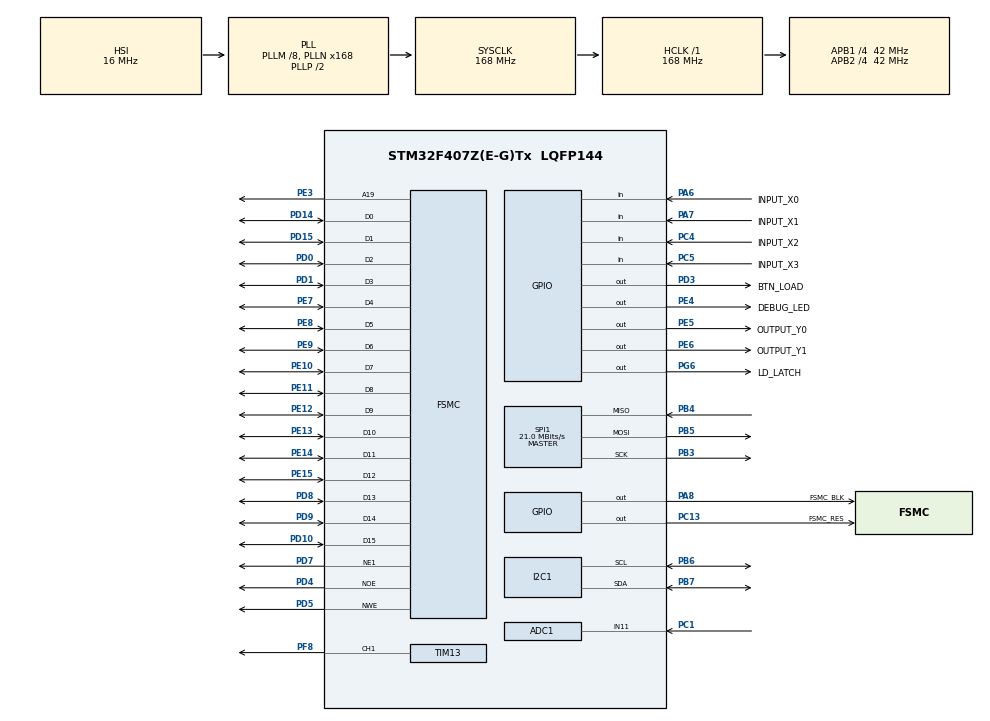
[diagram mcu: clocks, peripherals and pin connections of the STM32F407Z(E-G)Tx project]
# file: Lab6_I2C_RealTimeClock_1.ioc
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ADC1.Channel-0\#ChannelRegularConversion=ADC_CHANNEL_11
ADC1.NbrOfConversion=1
ADC1.NbrOfConversionFlag=1
ADC1.Rank-0\#ChannelRegularConversion=1
ADC1.SamplingTime-0\#ChannelRegularConversion=ADC_SAMPLETIME_3CYCLES
ADC1.ScanConvMode=DISABLE
ADC1.master=1
Dma.ADC1.0.Direction=DMA_PERIPH_TO_MEMORY
Dma.ADC1.0.FIFOMode=DMA_FIFOMODE_DISABLE
Dma.ADC1.0.Instance=DMA2_Stream0
Dma.ADC1.0.MemDataAlignment=DMA_MDATAALIGN_HALFWORD
Dma.ADC1.0.MemInc=DMA_MINC_ENABLE
Dma.ADC1.0.Mode=DMA_CIRCULAR
Dma.ADC1.0.PeriphDataAlignment=DMA_PDATAALIGN_HALFWORD
Dma.ADC1.0.PeriphInc=DMA_PINC_DISABLE
Dma.ADC1.0.Priority=DMA_PRIORITY_LOW
Dma.Request0=ADC1
FSMC.AddressSetupTime1=0xf
FSMC.BusTurnAroundDuration1=0
FSMC.DataSetupTime1=60
FSMC.ExtendedAddressSetupTime1=8
FSMC.ExtendedBusTurnAroundDuration1=0
FSMC.ExtendedDataSetupTime1=9
FSMC.ExtendedMode1=FSMC_EXTENDED_MODE_ENABLE
I2C1.I2C_Mode=I2C_Standard
Mcu.Family=STM32F4
Mcu.Name=STM32F407Z(E-G)Tx
Mcu.Package=LQFP144
NVIC.DMA2_Stream0_IRQn=true\:0\:0\:false\:false\:true\:false\:true\:true
NVIC.PriorityGroup=NVIC_PRIORITYGROUP_4
NVIC.TIM2_IRQn=true\:0\:0\:false\:false\:true\:true\:true\:true
NVIC.TIM3_IRQn=true\:0\:0\:false\:false\:true\:true\:true\:true
NVIC.TIM4_IRQn=true\:0\:0\:false\:false\:true\:true\:true\:true
PA13.Mode=Serial_Wire
PA13.Signal=SYS_JTMS-SWDIO
PA14.Mode=Serial_Wire
PA14.Signal=SYS_JTCK-SWCLK
PA6.GPIO_Label=INPUT_X0
PA6.Signal=GPIO_Input
PA7.GPIO_Label=INPUT_X1
PA7.Signal=GPIO_Input
PA8.GPIO_Label=FSMC_BLK
PA8.Signal=GPIO_Output
PB3.Mode=Full_Duplex_Master
PB3.Signal=SPI1_SCK
PB4.Mode=Full_Duplex_Master
PB4.Signal=SPI1_MISO
PB5.Mode=Full_Duplex_Master
PB5.Signal=SPI1_MOSI
PB6.Mode=I2C
PB6.Signal=I2C1_SCL
PB7.Mode=I2C
PB7.Signal=I2C1_SDA
PC1.Signal=ADCx_IN11
PC13-ANTI_TAMP.GPIO_Label=FSMC_RES
PC13-ANTI_TAMP.Signal=GPIO_Output
PC4.GPIO_Label=INPUT_X2
PC4.Signal=GPIO_Input
PC5.GPIO_Label=INPUT_X3
PC5.Signal=GPIO_Input
PD0.Signal=FSMC_D2_DA2
PD1.Signal=FSMC_D3_DA3
PD10.Signal=FSMC_D15_DA15
PD14.Signal=FSMC_D0_DA0
PD15.Signal=FSMC_D1_DA1
PD3.GPIO_Label=BTN_LOAD
PD3.Signal=GPIO_Output
PD4.Signal=FSMC_NOE
PD5.Signal=FSMC_NWE
PD7.Mode=NorPsramChipSelect1_1
PD7.Signal=FSMC_NE1
PD8.Signal=FSMC_D13_DA13
PD9.Signal=FSMC_D14_DA14
PE10.Signal=FSMC_D7_DA7
PE11.Signal=FSMC_D8_DA8
PE12.Signal=FSMC_D9_DA9
PE13.Signal=FSMC_D10_DA10
PE14.Signal=FSMC_D11_DA11
PE15.Signal=FSMC_D12_DA12
PE3.Signal=FSMC_A19
PE4.GPIO_Label=DEBUG_LED
PE4.Signal=GPIO_Output
PE5.GPIO_Label=OUTPUT_Y0
PE5.Signal=GPIO_Output
PE6.GPIO_Label=OUTPUT_Y1
PE6.Signal=GPIO_Output
PE7.Signal=FSMC_D4_DA4
PE8.Signal=FSMC_D5_DA5
PE9.Signal=FSMC_D6_DA6
PF8.Signal=S_TIM13_CH1
PG6.GPIO_Label=LD_LATCH
PG6.Signal=GPIO_Output
PH0-OSC_IN.Mode=HSE-External-Oscillator
PH0-OSC_IN.Signal=RCC_OSC_IN
PH1-OSC_OUT.Mode=HSE-External-Oscillator
PH1-OSC_OUT.Signal=RCC_OSC_OUT
ProjectManager.HeapSize=0x200
ProjectManager.StackSize=0x400
ProjectManager.TargetToolchain=STM32CubeIDE
RCC.48MHZClocksFreq_Value=84000000
RCC.AHBFreq_Value=168000000
RCC.APB1CLKDivider=RCC_HCLK_DIV4
RCC.APB1Freq_Value=42000000
RCC.APB1TimFreq_Value=84000000
RCC.APB2CLKDivider=RCC_HCLK_DIV4
RCC.APB2Freq_Value=42000000
RCC.APB2TimFreq_Value=84000000
RCC.CortexFreq_Value=168000000
RCC.HCLKFreq_Value=168000000
RCC.HSE_VALUE=8000000
RCC.HSI_VALUE=16000000
RCC.LSE_VALUE=32768
RCC.PLLM=8
RCC.PLLN=168
RCC.SYSCLKFreq_VALUE=168000000
RCC.SYSCLKSource=RCC_SYSCLKSOURCE_PLLCLK
RCC.VCOOutputFreq_Value=336000000
SH.ADCx_IN11.0=ADC1_IN11,IN11
SH.FSMC_A19.0=FSMC_A19,A19_1
SH.FSMC_D0_DA0.0=FSMC_D0,16b-d1
SH.FSMC_D10_DA10.0=FSMC_D10,16b-d1
SH.FSMC_D11_DA11.0=FSMC_D11,16b-d1
SH.FSMC_D12_DA12.0=FSMC_D12,16b-d1
SH.FSMC_D13_DA13.0=FSMC_D13,16b-d1
SH.FSMC_D14_DA14.0=FSMC_D14,16b-d1
SH.FSMC_D15_DA15.0=FSMC_D15,16b-d1
SH.FSMC_D1_DA1.0=FSMC_D1,16b-d1
SH.FSMC_D2_DA2.0=FSMC_D2,16b-d1
SH.FSMC_D3_DA3.0=FSMC_D3,16b-d1
SH.FSMC_D4_DA4.0=FSMC_D4,16b-d1
SH.FSMC_D5_DA5.0=FSMC_D5,16b-d1
SH.FSMC_D6_DA6.0=FSMC_D6,16b-d1
SH.FSMC_D7_DA7.0=FSMC_D7,16b-d1
SH.FSMC_D8_DA8.0=FSMC_D8,16b-d1
SH.FSMC_D9_DA9.0=FSMC_D9,16b-d1
SH.FSMC_NOE.0=FSMC_NOE,Lcd1
SH.FSMC_NWE.0=FSMC_NWE,Lcd1
SH.S_TIM13_CH1.0=TIM13_CH1,PWM Generation1 CH1
SPI1.BaudRatePrescaler=SPI_BAUDRATEPRESCALER_2
SPI1.CalculateBaudRate=21.0 MBits/s
SPI1.Direction=SPI_DIRECTION_2LINES
SPI1.Mode=SPI_MODE_MASTER
SPI1.VirtualType=VM_MASTER
TIM13.Channel=TIM_CHANNEL_1
TIM13.Period=100-1
TIM13.Prescaler=840-1
TIM2.Period=100-1
TIM2.Prescaler=840-1
TIM3.Period=100-1
TIM3.Prescaler=840-1
TIM4.Period=100-1
TIM4.Prescaler=840-1
VP_TIM13_VS_ClockSourceINT.Mode=Enable_Timer
VP_TIM2_VS_ClockSourceINT.Mode=Internal
VP_TIM3_VS_ClockSourceINT.Mode=Internal
VP_TIM4_VS_ClockSourceINT.Mode=Internal
board=custom

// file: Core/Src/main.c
/* USER CODE BEGIN Header */
/**
 ******************************************************************************
 * @file           : main.c
 * @brief          : Main program body
 ******************************************************************************
 * @attention
 *
 * <h2><center>&copy; Copyright (c) 2023 STMicroelectronics.
 * All rights reserved.</center></h2>
 *
 * This software component is licensed by ST under BSD 3-Clause license,
 * the "License"; You may not use this file except in compliance with the
 * License. You may obtain a copy of the License at:
 *                        opensource.org/licenses/BSD-3-Clause
 *
 ******************************************************************************
 */
/* USER CODE END Header */
#include "main.h"
#include "adc.h"
#include "dma.h"
#include "i2c.h"
#include "spi.h"
#include "tim.h"
#include "gpio.h"
#include "fsmc.h"

/* USER CODE BEGIN Includes */
#include "software_timer.h"
#include "lcd.h"
#include "ds3231.h"
#include "button.h"
#include "picture.h"
#include "game_ui.h"
#include "game_logic.h"
#include "sensor.h"
#include "buzzer.h"
#include <stdio.h>
#include <stdlib.h>
/* USER CODE END Includes */

/* USER CODE BEGIN PD */
#define INIT_SYSTEM     0
#define SET_HOUR        1
#define SET_MINUTE      2
#define SET_DAY         3
#define SET_DATE        4
#define SET_MONTH       5
#define SET_YEAR        6
/* USER CODE END PD */

/* USER CODE BEGIN PV */
GameState game_state;
uint16_t sensor_chiet_ap = 0;
/* USER CODE END PV */

void SystemClock_Config(void);
/* USER CODE BEGIN PFP */
void system_init();
/* USER CODE END PFP */

int main(void)
{

  /* MCU Configuration--------------------------------------------------------*/

  /* Reset of all peripherals, Initializes the Flash interface and the Systick. */
  HAL_Init();

  /* Configure the system clock */
  SystemClock_Config();

  /* Initialize all configured peripherals */
  MX_GPIO_Init();
  MX_DMA_Init();
  MX_TIM2_Init();
  MX_SPI1_Init();
  MX_FSMC_Init();
  MX_I2C1_Init();
  MX_TIM4_Init();
  MX_ADC1_Init();
  MX_TIM13_Init();
  MX_TIM3_Init();
  /* USER CODE BEGIN 2 */
	system_init();
	timer2_set(20); // ~50 FPS ~ 20ms
	game_state.status = GAME_START_SCREEN;
	// Display Intro Screen (Background Image + "PRESS BUTTON 1 TO PLAY")
	lcd_show_picture(0, 0, 240, 320, gImage_BK);
	lcd_show_string_center(0, 164, "PRESS BUTTON 1 TO PLAY", WHITE, 0, 16, 1);
  /* USER CODE END 2 */

  /* Infinite loop */
  /* USER CODE BEGIN WHILE */
//	buzzer_game(50);
	while (1) {

		if(timer4_flag == 1)
		{
			sensor_read();
			sensor_chiet_ap = sensor_get_potentiometer();
			timer4_flag = 0;
		}
		if(timer3_flag == 1)
		{
			button_scan();
			timer3_flag = 0;
		}

		switch (game_state.status) {
		case GAME_START_SCREEN:
			if (button_clicked(0) == 1) { // Change from Intro to Playing Screen
				game_init_state(&game_state, sensor_chiet_ap);
				game_state.show_potentiometer_prompt = 1;
				game_state.initial_potentiometer_value = sensor_chiet_ap; // Store initial pot value
				game_state.status = GAME_PLAYING;
				game_draw_initial_scene(&game_state);
				buzzer_intro_start();  // bắt đầu intro
				button_clicked(4);
				button_clicked(5);
			}
			break;
		case GAME_PLAYING:
			if (!game_state.show_potentiometer_prompt && timer2_flag == 1) { // Game Update over ~50 FPS
				update_paddle_position(&game_state, sensor_chiet_ap);
				step_world(&game_state, 0.02f); // Assuming dt = 0.02 seconds for ~50 FPS
				timer2_flag = 0;
				game_update_screen(&game_state); // only updates changed components like paddle  and ball
				if (game_state.show_potentiometer_prompt)
					game_state.initial_potentiometer_value = sensor_chiet_ap;
			}
			// If prompt is shown, check for potentiometer movement to start the game
			if (game_state.show_potentiometer_prompt && abs(sensor_chiet_ap - game_state.initial_potentiometer_value) > 50) {
				game_state.show_potentiometer_prompt = 0;
				initialize_ball_velocity(&game_state.balls[0], &game_state.paddle);
				game_draw_initial_scene(&game_state);
			}

			if (button_clicked(4) == 1) { // Pause Button
				game_state.status = GAME_PAUSED;
				game_draw_pause_screen(&game_state);
			} else if (button_clicked(5) == 1) { // Game Over Button
				game_state.status = GAME_OVER;
				game_draw_game_over_screen(&game_state);
			}
			break;
		case GAME_PAUSED:
			if (button_clicked(4) == 1) { // Resume Button
				game_state.status = GAME_PLAYING;
				game_draw_initial_scene(&game_state);
				button_clicked(5); // Clear Game Over Button State
			}
			break;
		case GAME_OVER:
			if (button_clicked(5) == 1) { // Restart Game from Game Over
				game_init_state(&game_state, sensor_chiet_ap);
				game_state.status = GAME_PLAYING;
				game_state.show_potentiometer_prompt = 1;
				game_draw_initial_scene(&game_state);
				button_clicked(4); // Clear Pause Button State
				game_state.initial_potentiometer_value = sensor_chiet_ap;
			}
			break;
		default:
			break;
		}
    /* USER CODE END WHILE */

	}
}

void SystemClock_Config(void)
{
  RCC_OscInitTypeDef RCC_OscInitStruct = {0};
  RCC_ClkInitTypeDef RCC_ClkInitStruct = {0};

  /** Configure the main internal regulator output voltage
  */
  __HAL_RCC_PWR_CLK_ENABLE();
  __HAL_PWR_VOLTAGESCALING_CONFIG(PWR_REGULATOR_VOLTAGE_SCALE1);

  /** Initializes the RCC Oscillators according to the specified parameters
  * in the RCC_OscInitTypeDef structure.
  */
  RCC_OscInitStruct.OscillatorType = RCC_OSCILLATORTYPE_HSI;
  RCC_OscInitStruct.HSIState = RCC_HSI_ON;
  RCC_OscInitStruct.HSICalibrationValue = RCC_HSICALIBRATION_DEFAULT;
  RCC_OscInitStruct.PLL.PLLState = RCC_PLL_ON;
  RCC_OscInitStruct.PLL.PLLSource = RCC_PLLSOURCE_HSI;
  RCC_OscInitStruct.PLL.PLLM = 8;
  RCC_OscInitStruct.PLL.PLLN = 168;
  RCC_OscInitStruct.PLL.PLLP = RCC_PLLP_DIV2;
  RCC_OscInitStruct.PLL.PLLQ = 4;
  if (HAL_RCC_OscConfig(&RCC_OscInitStruct) != HAL_OK)
  {
    Error_Handler();
  }

  /** Initializes the CPU, AHB and APB buses clocks
  */
  RCC_ClkInitStruct.ClockType = RCC_CLOCKTYPE_HCLK|RCC_CLOCKTYPE_SYSCLK
                              |RCC_CLOCKTYPE_PCLK1|RCC_CLOCKTYPE_PCLK2;
  RCC_ClkInitStruct.SYSCLKSource = RCC_SYSCLKSOURCE_PLLCLK;
  RCC_ClkInitStruct.AHBCLKDivider = RCC_SYSCLK_DIV1;
  RCC_ClkInitStruct.APB1CLKDivider = RCC_HCLK_DIV4;
  RCC_ClkInitStruct.APB2CLKDivider = RCC_HCLK_DIV4;

  if (HAL_RCC_ClockConfig(&RCC_ClkInitStruct, FLASH_LATENCY_5) != HAL_OK)
  {
    Error_Handler();
  }
}

/* USER CODE BEGIN 4 */
void system_init() {
	HAL_GPIO_WritePin(OUTPUT_Y0_GPIO_Port, OUTPUT_Y0_Pin, 0);
	HAL_GPIO_WritePin(OUTPUT_Y1_GPIO_Port, OUTPUT_Y1_Pin, 0);
	HAL_GPIO_WritePin(DEBUG_LED_GPIO_Port, DEBUG_LED_Pin, 0);

	lcd_init();
	ds3231_init();
	sensor_init();
	buzzer_init();
	timer2_init();
	timer3_init();
	timer4_init();
	timer3_set(20);
	timer4_set(1);
}
/* USER CODE END 4 */

void Error_Handler(void)
{
	__disable_irq();
	while (1) {
	}
}
